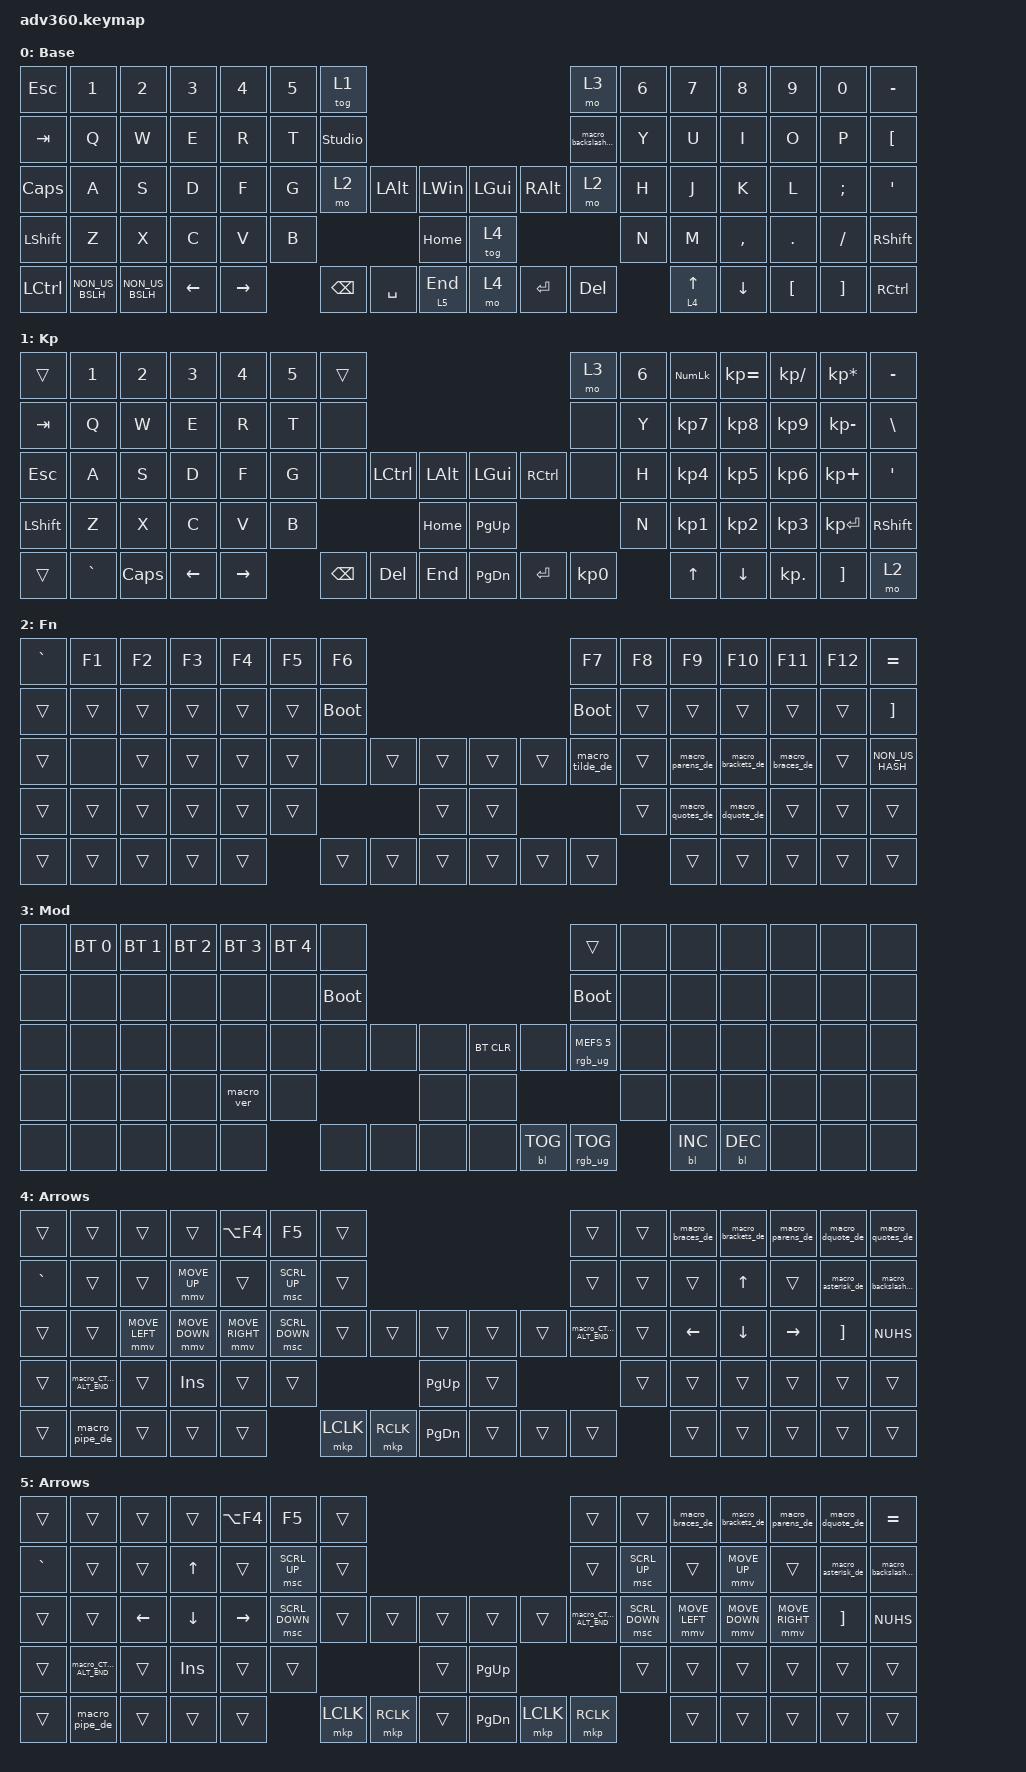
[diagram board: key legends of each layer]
#include <behaviors.dtsi>
#include <dt-bindings/zmk/backlight.h>
#include <dt-bindings/zmk/bt.h>
#include <dt-bindings/zmk/keys.h>
#include <dt-bindings/zmk/pointing.h>
#include <dt-bindings/zmk/rgb.h>

/*#include "macros.dtsi"*/

/ {
    behaviors {
        hm: homerow_mods {
            compatible = "zmk,behavior-hold-tap";
            label = "HOMEROW_MODS";
            #binding-cells = <2>;
            tapping-term-ms = <200>;
            quick_tap_ms = <175>;
            flavor = "tap-preferred";
            bindings = <&kp>, <&kp>;
        };
    };

    macros {
        #include "version.dtsi"
      #ifndef VERSION_MACRO

        macro_ver: macro_ver {
            compatible = "zmk,behavior-macro";
            label = "macro_version";
            #binding-cells = <0>;
            bindings = <&kp RET>;
        };

        #endif

        macro_CTRL_ALT_END: macro_CTRL_ALT_INS {
            compatible = "zmk,behavior-macro";
            #binding-cells = <0>;
            bindings = <&kp LC(LA(END))>;
            label = "MACRO_CTRL_ALT_INS";
        };

        macro_quotes: macro_quotes {
            compatible = "zmk,behavior-macro";
            label = "macro_quotes";
            #binding-cells = <0>;
            bindings = <&kp SQT &kp SQT &kp LEFT>;
        };

        macro_dquotes: macro_dquotes {
            compatible = "zmk,behavior-macro";
            label = "macro_dquotes";
            #binding-cells = <0>;
            bindings = <&kp DQT &kp DQT &kp LEFT>;
        };

        macro_braces: macro_braces {
            compatible = "zmk,behavior-macro";
            label = "macro_braces";
            #binding-cells = <0>;
            bindings = <&kp LBRC &kp RBRC &kp LEFT>;
        };

        macro_backslash_de: macro_backslash_de {
            compatible = "zmk,behavior-macro";
            label = "macro_backslash_de";
            #binding-cells = <0>;
            bindings = <&kt RALT &kp MINUS &kt RALT>;
        };

        macro_tilde_de: macro_tilde_de {
            compatible = "zmk,behavior-macro";
            label = "macro_tilde_de";
            #binding-cells = <0>;
            bindings = <&kt RALT &kp RBKT &kt RALT>;
        };

        macro_pipe_de: macro_pipe_de {
            compatible = "zmk,behavior-macro";
            label = "macro_pipe_de";
            #binding-cells = <0>;
            bindings = <&kt RALT &kp NON_US_BACKSLASH &kt RALT>;
        };

        macro_alttab: macro_alttab {
            compatible = "zmk,behavior-macro";
            label = "macro_alttab";
            #binding-cells = <0>;
            bindings = <&kt LALT &kp TAB &kt LALT>;
        };

        macro_parens: macro_parens {
            compatible = "zmk,behavior-macro";
            label = "macro_parens";
            #binding-cells = <0>;
            bindings = <&kp LPAR &kp RPAR &kp LEFT>;
        };

        macro_brackets: macro_brackets {
            compatible = "zmk,behavior-macro";
            label = "macro_brackets";
            #binding-cells = <0>;
            bindings = <&kp LBKT &kp RBKT &kp LEFT>;
        };

        macro_quotes_de: macro_quotes_de {
            compatible = "zmk,behavior-macro";
            label = "macro_quotes_de";
            #binding-cells = <0>;
            bindings = <&kt LSHFT &kp BSLH &kp BSLH &kt LSHFT &kp LEFT>;
        };

        macro_dquote_de: macro_dquote_de {
            compatible = "zmk,behavior-macro";
            label = "macro_dquote_de";
            #binding-cells = <0>;
            bindings = <&kt LSHIFT &kp N2 &kp N2 &kt LSHFT &kp LEFT>;
        };

        macro_braces_de: macro_braces_de {
            compatible = "zmk,behavior-macro";
            label = "macro_braces_de";
            #binding-cells = <0>;
            bindings = <&kt RALT &kp N7 &kp N0 &kt RALT &kp LEFT>;
        };

        macro_parens_de: macro_parens_de {
            compatible = "zmk,behavior-macro";
            label = "macro_parens_de";
            #binding-cells = <0>;
            bindings = <&kt LSHFT &kp N8 &kp N9 &kt LSHFT &kp LEFT>;
        };

        macro_brackets_de: macro_brackets_de {
            compatible = "zmk,behavior-macro";
            label = "macro_brackets_de";
            #binding-cells = <0>;
            bindings = <&kt RALT &kp N8 &kp N9 &kt RALT &kp LEFT>;
        };

        macro_kinesis: macro_kinesis {
            compatible = "zmk,behavior-macro";
            label = "macro_kinesis";
            #binding-cells = <0>;
            bindings = <&kp LS(K) &kp I &kp N &kp E &kp S &kp I &kp S>;
        };

        macro_asterisk_de: Asterisk {
            compatible = "zmk,behavior-macro";
            label = "ASTERISK";
            #binding-cells = <0>;
            bindings = <&kt LSHFT &kp RIGHT_BRACKET &kt LSHFT>;
        };
    };

    keymap {
        compatible = "zmk,keymap";

        default_layer {
            display-name = "Base";
            bindings = <
&kp ESC    &kp N1           &kp N2           &kp N3    &kp N4     &kp N5  &tog 1                                                                   &mo 3                &kp N6  &kp N7          &kp N8     &kp N9    &kp N0    &kp MINUS
&kp TAB    &kp Q            &kp W            &kp E     &kp R      &kp T   &studio_unlock                                                           &macro_backslash_de  &kp Y   &kp U           &kp I      &kp O     &kp P     &kp LBKT
&kp CAPS   &kp A            &kp S            &kp D     &kp F      &kp G   &mo 2           &kp LEFT_ALT  &kp LEFT_WIN      &kp LGUI  &kp RIGHT_ALT  &mo 2                &kp H   &kp J           &kp K      &kp L     &kp SEMI  &kp SQT
&kp LSHFT  &kp Z            &kp X            &kp C     &kp V      &kp B                                 &kp HOME          &tog 4                                        &kp N   &kp M           &kp COMMA  &kp DOT   &kp FSLH  &kp RSHFT
&kp LCTRL  &kp NON_US_BSLH  &kp NON_US_BSLH  &kp LEFT  &kp RIGHT          &kp BSPC        &kp SPACE     &lt 5 END         &mo 4     &kp ENTER      &kp DELETE                   &lt 4 UP_ARROW  &kp DOWN   &kp LBKT  &kp RBKT  &kp RCTRL
            >;
        };

        keypad {
            display-name = "Kp";
            bindings = <
&trans     &kp N1     &kp N2    &kp N3    &kp N4     &kp N5  &trans                                                   &mo 3      &kp N6  &kp KP_NUM  &kp KP_EQUAL  &kp KP_DIVIDE  &kp KP_MULTIPLY  &kp MINUS
&kp TAB    &kp Q      &kp W     &kp E     &kp R      &kp T   &none                                                    &none      &kp Y   &kp KP_N7   &kp KP_N8     &kp KP_N9      &kp KP_MINUS     &kp BSLH
&kp ESC    &kp A      &kp S     &kp D     &kp F      &kp G   &none     &kp LCTRL  &kp LALT      &kp LGUI   &kp RCTRL  &none      &kp H   &kp KP_N4   &kp KP_N5     &kp KP_N6      &kp KP_PLUS      &kp SQT
&kp LSHFT  &kp Z      &kp X     &kp C     &kp V      &kp B                        &kp HOME      &kp PG_UP                        &kp N   &kp KP_N1   &kp KP_N2     &kp KP_N3      &kp KP_ENTER     &kp RSHFT
&trans     &kp GRAVE  &kp CAPS  &kp LEFT  &kp RIGHT          &kp BSPC  &kp DEL    &kp END       &kp PG_DN  &kp ENTER  &kp KP_N0          &kp UP      &kp DOWN      &kp KP_DOT     &kp RBKT         &mo 2
            >;
        };

        fn {
            display-name = "Fn";
            bindings = <
&kp GRAVE  &kp F1  &kp F2  &kp F3  &kp F4  &kp F5  &kp F6                                           &kp F7           &kp F8  &kp F9            &kp F10             &kp F11           &kp F12  &kp EQUAL
&trans     &trans  &trans  &trans  &trans  &trans  &bootloader                                      &bootloader      &trans  &trans            &trans              &trans            &trans   &kp RBKT
&trans     &none   &trans  &trans  &trans  &trans  &none        &trans  &trans      &trans  &trans  &macro_tilde_de  &trans  &macro_parens_de  &macro_brackets_de  &macro_braces_de  &trans   &kp NON_US_HASH
&trans     &trans  &trans  &trans  &trans  &trans                       &trans      &trans                           &trans  &macro_quotes_de  &macro_dquote_de    &trans            &trans   &trans
&trans     &trans  &trans  &trans  &trans          &trans       &trans  &trans      &trans  &trans  &trans                   &trans            &trans              &trans            &trans   &trans
            >;
        };

        mod {
            display-name = "Mod";
            bindings = <
&none  &bt BT_SEL 0  &bt BT_SEL 1  &bt BT_SEL 2  &bt BT_SEL 3  &bt BT_SEL 4  &none                                                  &trans                  &none  &none       &none       &none  &none  &none
&none  &none         &none         &none         &none         &none         &bootloader                                            &bootloader             &none  &none       &none       &none  &none  &none
&none  &none         &none         &none         &none         &none         &none        &none  &none      &bt BT_CLR  &none       &rgb_ug RGB_MEFS_CMD 5  &none  &none       &none       &none  &none  &none
&none  &none         &none         &none         &macro_ver    &none                             &none      &none                                           &none  &none       &none       &none  &none  &none
&none  &none         &none         &none         &none                       &none        &none  &none      &none       &bl BL_TOG  &rgb_ug RGB_TOG                &bl BL_INC  &bl BL_DEC  &none  &none  &none
            >;
        };

        layer_arrows {
            display-name = "Arrows";
            bindings = <
&trans     &trans               &trans          &trans          &kp LA(F4)       &kp F5          &trans                                                   &trans               &trans  &macro_braces_de  &macro_brackets_de  &macro_parens_de  &macro_dquote_de    &macro_quotes_de
&kp GRAVE  &trans               &trans          &mmv MOVE_UP    &trans           &msc SCRL_UP    &trans                                                   &trans               &trans  &trans            &kp UP              &trans            &macro_asterisk_de  &macro_backslash_de
&trans     &trans               &mmv MOVE_LEFT  &mmv MOVE_DOWN  &mmv MOVE_RIGHT  &msc SCRL_DOWN  &trans     &trans     &trans             &trans  &trans  &macro_CTRL_ALT_END  &trans  &kp LEFT          &kp DOWN            &kp RIGHT         &kp RIGHT_BRACKET   &kp NUHS
&trans     &macro_CTRL_ALT_END  &trans          &kp INS         &trans           &trans                                &kp PG_UP          &trans                               &trans  &trans            &trans              &trans            &trans              &trans
&trans     &macro_pipe_de       &trans          &trans          &trans                           &mkp LCLK  &mkp RCLK  &kp PAGE_DOWN      &trans  &trans  &trans                       &trans            &trans              &trans            &trans              &trans
            >;
        };

        layer_arrows_reverse {
            display-name = "Arrows";
            bindings = <
&trans     &trans               &trans    &trans        &kp LA(F4)  &kp F5          &trans                                                  &trans               &trans          &macro_braces_de  &macro_brackets_de  &macro_parens_de  &macro_dquote_de    &kp EQUAL
&kp GRAVE  &trans               &trans    &kp UP_ARROW  &trans      &msc SCRL_UP    &trans                                                  &trans               &msc SCRL_UP    &trans            &mmv MOVE_UP        &trans            &macro_asterisk_de  &macro_backslash_de
&trans     &trans               &kp LEFT  &kp DOWN      &kp RIGHT   &msc SCRL_DOWN  &trans     &trans     &trans      &trans     &trans     &macro_CTRL_ALT_END  &msc SCRL_DOWN  &mmv MOVE_LEFT    &mmv MOVE_DOWN      &mmv MOVE_RIGHT   &kp RIGHT_BRACKET   &kp NUHS
&trans     &macro_CTRL_ALT_END  &trans    &kp INS       &trans      &trans                                &trans      &kp PG_UP                                  &trans          &trans            &trans              &trans            &trans              &trans
&trans     &macro_pipe_de       &trans    &trans        &trans                      &mkp LCLK  &mkp RCLK  &trans      &kp PG_DN  &mkp LCLK  &mkp RCLK                            &trans            &trans              &trans            &trans              &trans
            >;
        };
    };
};
